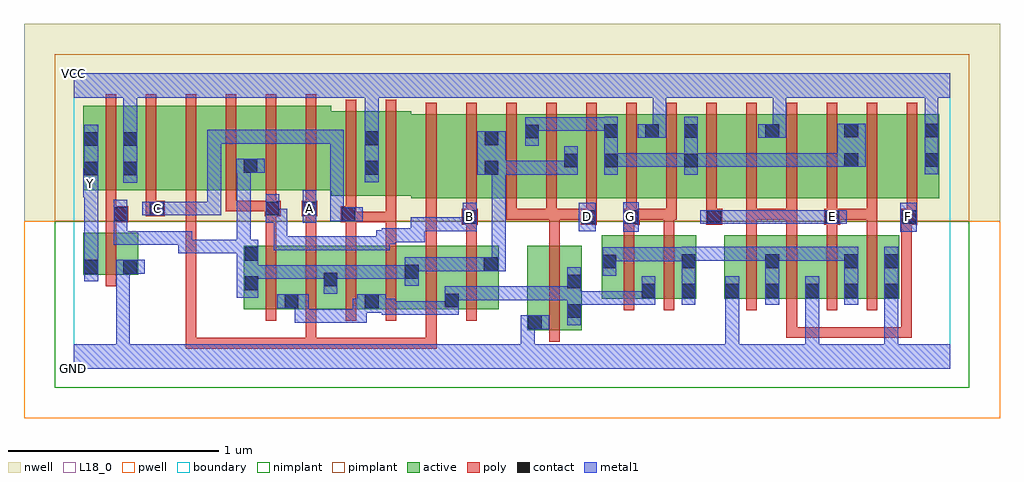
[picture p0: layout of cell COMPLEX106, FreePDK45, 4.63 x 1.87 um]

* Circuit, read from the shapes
.subckt COMPLEX106 A B C D E F G GND VCC Y
M1 GND n1 Y VSUBS nfet w=0.2u l=0.05u
M2 n2 B n1 VSUBS nfet w=0.3u l=0.05u m=2
M3 n1 A n2 VSUBS nfet w=0.3u l=0.05u m=2
M4 n2 C n1 VSUBS nfet w=0.3u l=0.05u m=2
M5 n2 D GND VSUBS nfet w=0.4u l=0.05u
M6 n2 G n3 VSUBS nfet w=0.3u l=0.05u m=2
M7 n3 F GND VSUBS nfet w=0.3u l=0.05u m=2
M8 n3 E GND VSUBS nfet w=0.3u l=0.05u m=2
M9 VCC n1 Y n4 pfet w=0.4u l=0.05u
M10 n5 C VCC n4 pfet w=0.4u l=0.05u
M11 n6 A n5 n4 pfet w=0.4u l=0.05u
M12 n1 B n6 n4 pfet w=0.4u l=0.05u
M13 n7 B n1 n4 pfet w=0.4u l=0.05u
M14 n8 A n7 n4 pfet w=0.4u l=0.05u
M15 VCC C n8 n4 pfet w=0.4u l=0.05u
M16 n9 C VCC n4 pfet w=0.4u l=0.05u
M17 n10 A n9 n4 pfet w=0.4u l=0.05u
M18 n1 B n10 n4 pfet w=0.4u l=0.05u
M19 n11 D n1 n4 pfet w=0.4u l=0.05u m=3
M20 VCC G n11 n4 pfet w=0.4u l=0.05u m=2
M21 n12 E n11 n4 pfet w=0.4u l=0.05u
M22 VCC F n12 n4 pfet w=0.4u l=0.05u
M23 n13 F VCC n4 pfet w=0.4u l=0.05u
M24 n11 E n13 n4 pfet w=0.4u l=0.05u
M25 n14 E n11 n4 pfet w=0.4u l=0.05u
M26 VCC F n14 n4 pfet w=0.4u l=0.05u
.ends

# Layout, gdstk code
import gdstk
lib = gdstk.Library(unit=1e-6, precision=1e-09)
def R(c, l, rs):  # rectangles x0, y0, x1, y1
    for r in rs: c.add(gdstk.rectangle(r[:2], r[2:], *l))
def A(c, l, x, y, w, h, nx, ny, dx, dy):  # array of equal rectangles
    R(c, l, [(x+i*dx, y+j*dy, x+i*dx+w, y+j*dy+h) for i in range(nx) for j in range(ny)])
active = (1, 0)
pwell = (2, 0)
nwell = (3, 0)
nimplant = (4, 0)
pimplant = (5, 0)
poly = (9, 0)
contact = (10, 0)
metal1 = (11, 0)
L18_0 = (18, 0)
boundary = (235, 0)

complex106 = lib.new_cell('COMPLEX106')
R(complex106, active, [(2.152,0.182,2.412,0.582), (2.152,0.182,2.227,0.582), (2.337,0.235,2.412,0.582), (0.807,0.282,1.072,0.582), (0.997,0.282,1.257,0.582), (0.997,0.282,1.072,0.437), (1.182,0.282,1.452,0.582), (1.377,0.282,1.642,0.582), (1.377,0.282,1.452,0.517), (1.567,0.282,1.832,0.582), (1.757,0.282,2.017,0.582), (1.757,0.282,1.832,0.405), (1.182,0.33,1.257,0.46), (1.567,0.33,1.642,0.497), (1.942,0.33,2.017,0.582), (2.505,0.332,2.765,0.632), (2.69,0.332,2.955,0.632), (2.69,0.332,2.765,0.597), (2.88,0.332,2.955,0.632), (3.087,0.332,3.162,0.632), (3.087,0.332,3.352,0.632), (3.277,0.332,3.542,0.632), (3.277,0.332,3.352,0.547), (3.467,0.332,3.727,0.632), (3.467,0.332,3.542,0.437), (3.652,0.332,3.727,0.632), (3.652,0.332,3.917,0.632), (3.842,0.332,3.917,0.632), (0.807,0.345,0.882,0.582), (2.505,0.345,2.58,0.632), (0.047,0.445,0.122,0.645), (0.047,0.445,0.307,0.645), (0.232,0.445,0.307,0.645), (1.602,0.807,1.792,1.207), (1.792,0.807,2.02,1.207), (1.945,0.807,2.212,1.207), (1.945,0.807,2.02,1.155), (2.137,0.807,2.397,1.207), (2.322,0.807,2.587,1.207), (2.322,0.807,2.397,1.07), (2.512,0.807,2.782,1.207), (2.707,0.807,2.967,1.207), (2.892,0.807,3.122,1.207), (3.122,0.807,3.352,1.207), (3.277,0.807,3.502,1.207), (3.502,0.807,3.727,1.207), (3.652,0.807,3.882,1.207), (3.882,0.807,4.107,1.207), (4.032,0.807,4.107,1.207), (1.222,0.82,1.452,1.22), (1.377,0.82,1.602,1.22), (0.047,0.847,0.307,1.247), (0.047,0.847,0.122,1.155), (0.232,0.847,0.462,1.247), (0.462,0.847,0.652,1.247), (0.652,0.847,0.877,1.247), (0.802,0.847,1.032,1.247), (1.032,0.847,1.222,1.247), (0.232,0.907,0.307,1.155), (0.802,0.907,0.877,1.07), (1.377,0.907,1.452,1.155), (2.137,0.907,2.212,1.2), (2.512,0.907,2.587,1.2), (2.707,0.907,2.782,1.207), (2.892,0.907,2.967,1.2), (3.277,0.907,3.352,1.207), (3.652,0.907,3.727,1.167)])
R(complex106, pwell, [(-0.235,-0.235,4.395,0.7)])
R(complex106, nwell, [(-0.235,0.7,4.395,1.635)])
R(complex106, nimplant, [(-0.09,-0.09,4.25,0.7)])
R(complex106, pimplant, [(-0.09,0.7,4.25,1.49)])
A(complex106, poly, 0.912, 0.227, 0.05, 0.41, 6, 1, 0.19, 0)
A(complex106, poly, 3.192, 0.277, 0.05, 0.41, 4, 1, 0.19, 0)
A(complex106, poly, 1.672, 0.707, 0.05, 0.095, 13, 1, 0.19, 0)
A(complex106, poly, 0.722, 0.747, 0.05, 0.095, 3, 1, 0.19, 0)
A(complex106, poly, 1.672, 0.752, 0.05, 0.51, 13, 1, 0.19, 0)
A(complex106, poly, 0.152, 0.792, 0.05, 0.51, 6, 1, 0.19, 0)
R(complex106, poly, [(0.532,0.095,0.582,0.145), (0.532,0.095,0.582,0.145), (0.532,0.095,0.582,0.145), (0.532,0.095,0.582,0.145), (0.532,0.095,0.582,0.145), (0.532,0.095,0.582,0.145), (0.532,0.095,0.582,0.145), (0.532,0.095,0.582,0.145), (0.532,0.095,0.582,0.145), (0.532,0.095,0.582,0.145), (0.532,0.095,0.582,0.145), (0.532,0.095,0.715,0.145), (0.532,0.095,0.582,0.842), (0.665,0.095,0.715,0.145), (0.665,0.095,0.715,0.145), (0.665,0.095,0.715,0.145), (0.665,0.095,1,0.145), (0.95,0.095,1,0.145), (0.95,0.095,1,0.145), (0.95,0.095,1,0.145), (0.95,0.095,1.152,0.145), (1.102,0.095,1.152,0.145), (1.102,0.095,1.152,0.277), (1.102,0.095,1.285,0.145), (1.235,0.095,1.285,0.145), (1.235,0.095,1.285,0.145), (1.235,0.095,1.285,0.145), (1.235,0.095,1.59,0.145), (1.54,0.095,1.59,0.145), (1.54,0.095,1.59,0.145), (1.54,0.095,1.59,0.145), (1.54,0.095,1.722,0.145), (1.672,0.095,1.722,0.145), (1.672,0.095,1.722,0.145), (1.672,0.095,1.722,0.145), (1.672,0.095,1.722,0.277), (2.257,0.127,2.307,0.637), (3.382,0.145,3.432,0.195), (3.382,0.145,3.68,0.195), (3.382,0.145,3.432,0.327), (3.63,0.145,3.68,0.195), (3.63,0.145,3.68,0.195), (3.63,0.145,3.68,0.195), (3.63,0.145,3.845,0.195), (3.795,0.145,3.845,0.195), (3.795,0.145,3.845,0.195), (3.795,0.145,3.845,0.195), (3.795,0.145,3.977,0.195), (3.927,0.145,3.977,0.195), (3.927,0.145,3.977,0.195), (3.927,0.145,3.977,0.195), (3.927,0.145,3.977,0.195), (3.927,0.145,3.977,0.195), (3.927,0.145,3.977,0.195), (3.927,0.145,3.977,0.195), (3.927,0.145,3.977,0.732), (2.61,0.277,2.66,0.687), (2.8,0.277,2.85,0.687), (0.152,0.39,0.202,0.7), (0.912,0.587,0.962,0.772), (1.102,0.587,1.152,0.772), (1.292,0.587,1.342,0.745), (1.482,0.587,1.532,0.745), (1.672,0.587,1.722,0.757), (1.862,0.587,1.912,0.732), (2.257,0.587,2.307,0.757), (2.61,0.637,2.66,0.732), (2.8,0.637,2.85,0.757), (3.192,0.637,3.242,0.757), (3.382,0.637,3.432,0.757), (3.572,0.637,3.622,0.732), (3.762,0.637,3.812,0.757), (0.152,0.65,0.202,0.745), (1.842,0.682,1.917,0.757), (2.407,0.682,2.482,0.757), (2.61,0.682,2.685,0.757), (3.002,0.682,3.077,0.757), (3.562,0.682,3.637,0.757), (3.927,0.682,3.977,0.732), (3.927,0.682,3.977,0.732), (3.927,0.682,4.002,0.757), (0.152,0.695,0.26,0.77), (1.267,0.695,1.342,0.77), (1.292,0.695,1.532,0.745), (1.482,0.695,1.532,0.745), (1.482,0.695,1.532,0.745), (1.482,0.695,1.532,0.745), (1.482,0.695,1.532,0.815), (1.672,0.707,1.722,0.757), (2.052,0.707,2.102,0.757), (2.052,0.707,2.102,0.757), (2.052,0.707,2.102,0.757), (2.052,0.707,2.292,0.757), (2.242,0.707,2.307,0.757), (2.257,0.707,2.307,0.757), (2.257,0.707,2.307,0.757), (2.257,0.707,2.457,0.757), (2.635,0.707,2.85,0.757), (2.8,0.707,2.85,0.757), (2.8,0.707,2.85,0.757), (2.8,0.707,2.862,0.757), (3.192,0.707,3.242,0.757), (3.192,0.707,3.242,0.757), (3.192,0.707,3.242,0.757), (3.192,0.707,3.432,0.757), (3.382,0.707,3.432,0.757), (3.587,0.707,3.812,0.757), (3.762,0.707,3.812,0.757), (3.762,0.707,3.812,0.757), (3.762,0.707,3.812,0.757), (0.152,0.72,0.202,0.842), (1.292,0.72,1.342,0.815), (0.342,0.722,0.432,0.797), (0.907,0.722,0.982,0.797), (1.082,0.722,1.157,0.797), (0.342,0.747,0.392,0.842), (0.722,0.747,0.772,0.797), (0.722,0.747,0.772,0.797), (0.722,0.747,0.772,0.797), (0.722,0.747,0.957,0.797), (1.292,0.765,1.342,1.275), (1.482,0.765,1.532,1.275)])
A(complex106, contact, 3.092, 0.337, 0.065, 0.065, 3, 1, 0.19, 0)
R(complex106, contact, [(2.157,0.187,2.222,0.252), (2.342,0.24,2.407,0.305), (1.002,0.287,1.067,0.352), (1.382,0.287,1.447,0.352), (1.762,0.29,1.827,0.355), (2.695,0.337,2.76,0.402), (2.885,0.337,2.95,0.402), (3.657,0.337,3.722,0.402), (3.847,0.337,3.912,0.402), (0.812,0.372,0.877,0.437), (2.342,0.38,2.407,0.445), (1.187,0.39,1.252,0.455), (1.572,0.427,1.637,0.492), (0.052,0.45,0.117,0.515), (0.237,0.45,0.302,0.515), (1.947,0.462,2.012,0.527), (2.51,0.475,2.575,0.54), (2.885,0.477,2.95,0.542), (3.282,0.477,3.347,0.542), (3.657,0.477,3.722,0.542), (3.847,0.477,3.912,0.542), (0.812,0.512,0.877,0.577), (1.847,0.687,1.912,0.752), (2.412,0.687,2.477,0.752), (2.615,0.687,2.68,0.752), (3.007,0.687,3.072,0.752), (3.567,0.687,3.632,0.752), (3.932,0.687,3.997,0.752), (0.19,0.7,0.255,0.765), (1.272,0.7,1.337,0.765), (0.362,0.727,0.427,0.792), (0.912,0.727,0.977,0.792), (1.087,0.727,1.152,0.792), (0.052,0.917,0.117,0.982), (0.237,0.917,0.302,0.982), (1.382,0.92,1.447,0.985), (1.95,0.92,2.015,0.985), (0.807,0.93,0.872,0.995), (2.327,0.955,2.392,1.02), (2.517,0.955,2.582,1.02), (2.897,0.955,2.962,1.02), (3.657,0.957,3.722,1.022), (4.037,0.957,4.102,1.022), (0.052,1.057,0.117,1.122), (0.237,1.057,0.302,1.122), (1.382,1.06,1.447,1.125), (1.95,1.06,2.015,1.125), (2.142,1.092,2.207,1.157), (2.517,1.095,2.582,1.16), (2.712,1.095,2.777,1.16), (2.897,1.095,2.962,1.16), (3.282,1.095,3.347,1.16), (3.657,1.097,3.722,1.162), (4.037,1.097,4.102,1.162)])
R(complex106, metal1, [(0,0,4.16,0.115), (0.202,0.05,0.267,0.115), (0.202,0.05,0.267,0.115), (0.202,0.05,0.267,0.115), (0.202,0.05,0.267,0.115), (0.202,0.05,0.267,0.115), (0.202,0.05,0.267,0.115), (0.202,0.05,0.267,0.515), (2.122,0.05,2.187,0.252), (3.092,0.05,3.157,0.367), (3.472,0.05,3.537,0.367), (3.472,0.05,3.537,0.115), (3.472,0.05,3.537,0.115), (3.472,0.05,3.537,0.115), (3.472,0.05,3.537,0.115), (3.847,0.05,3.912,0.367), (3.847,0.05,3.912,0.115), (3.847,0.05,3.912,0.115), (3.847,0.05,3.912,0.115), (3.847,0.05,3.912,0.115), (2.122,0.187,2.187,0.252), (2.122,0.187,2.187,0.252), (2.122,0.187,2.257,0.252), (2.342,0.205,2.407,0.48), (1.05,0.217,1.115,0.352), (1.05,0.217,1.275,0.282), (1.21,0.217,1.275,0.282), (1.21,0.217,1.39,0.282), (1.325,0.217,1.39,0.33), (1.462,0.255,1.69,0.32), (1.462,0.255,1.527,0.33), (1.625,0.255,1.69,0.32), (1.625,0.255,1.69,0.32), (1.625,0.255,1.69,0.32), (1.625,0.255,1.827,0.32), (1.762,0.255,1.827,0.39), (1.325,0.265,1.412,0.33), (1.347,0.265,1.482,0.352), (1.417,0.265,1.527,0.33), (0.967,0.287,1.102,0.352), (1.037,0.287,1.115,0.352), (2.342,0.302,2.407,0.367), (2.342,0.302,2.407,0.367), (2.342,0.302,2.605,0.367), (2.54,0.302,2.605,0.367), (2.54,0.302,2.675,0.367), (2.61,0.302,2.675,0.367), (2.61,0.302,2.76,0.367), (2.695,0.302,2.76,0.437), (2.885,0.302,2.95,0.577), (3.092,0.302,3.157,0.367), (3.092,0.302,3.157,0.367), (3.092,0.302,3.157,0.367), (3.092,0.302,3.157,0.367), (3.092,0.302,3.157,0.437), (3.282,0.302,3.347,0.577), (3.472,0.302,3.537,0.437), (3.657,0.302,3.722,0.577), (3.847,0.302,3.912,0.577), (1.762,0.325,1.912,0.39), (1.847,0.325,1.912,0.39), (1.847,0.325,2.05,0.39), (1.985,0.325,2.05,0.39), (1.985,0.325,2.05,0.39), (1.985,0.325,2.05,0.39), (1.985,0.325,2.255,0.39), (2.19,0.325,2.255,0.39), (2.19,0.325,2.255,0.39), (2.19,0.325,2.255,0.39), (2.19,0.325,2.407,0.39), (0.775,0.337,0.877,0.612), (0.812,0.337,0.877,0.402), (0.812,0.337,0.877,0.49), (1.187,0.355,1.252,0.49), (1.572,0.392,1.637,0.527), (0.052,0.415,0.117,0.55), (0.812,0.425,0.977,0.49), (0.912,0.425,0.977,0.49), (0.912,0.425,1.115,0.49), (1.05,0.425,1.115,0.49), (1.05,0.425,1.115,0.49), (1.05,0.425,1.115,0.49), (1.05,0.425,1.252,0.49), (1.187,0.425,1.312,0.49), (1.247,0.425,1.312,0.49), (1.247,0.425,1.5,0.49), (1.435,0.425,1.5,0.49), (1.435,0.425,1.527,0.49), (1.462,0.425,1.527,0.49), (1.462,0.425,1.637,0.49), (2.51,0.44,2.575,0.575), (0.202,0.45,0.337,0.515), (1.572,0.462,1.775,0.527), (1.71,0.462,1.775,0.527), (1.71,0.462,1.827,0.527), (1.762,0.462,1.827,0.527), (1.762,0.462,1.912,0.527), (1.847,0.462,1.912,0.527), (1.847,0.462,1.977,0.527), (1.912,0.462,2.047,0.527), (1.982,0.462,2.047,0.527), (1.982,0.462,2.05,0.527), (1.985,0.462,2.05,0.985), (0.052,0.485,0.117,0.877), (2.51,0.51,2.575,0.575), (2.51,0.51,2.575,0.575), (2.51,0.51,2.812,0.575), (2.747,0.51,2.812,0.575), (2.747,0.51,2.812,0.575), (2.747,0.51,2.812,0.575), (2.747,0.51,2.95,0.575), (2.885,0.512,2.95,0.577), (2.885,0.512,2.95,0.577), (2.885,0.512,3.175,0.577), (3.11,0.512,3.175,0.577), (3.11,0.512,3.262,0.577), (3.197,0.512,3.262,0.577), (3.197,0.512,3.347,0.577), (3.282,0.512,3.4,0.577), (3.335,0.512,3.4,0.577), (3.335,0.512,3.55,0.577), (3.485,0.512,3.55,0.577), (3.485,0.512,3.55,0.577), (3.485,0.512,3.55,0.577), (3.485,0.512,3.722,0.577), (0.497,0.547,0.562,0.612), (0.497,0.547,0.562,0.612), (0.497,0.547,0.7,0.612), (0.497,0.547,0.562,0.652), (0.635,0.547,0.7,0.612), (0.635,0.547,0.7,0.612), (0.635,0.547,0.7,0.612), (0.635,0.547,0.84,0.612), (0.775,0.547,0.84,0.612), (0.775,0.547,0.84,0.612), (0.775,0.547,0.84,0.612), (0.775,0.547,0.84,0.612), (0.775,0.547,0.84,0.995), (0.95,0.562,1.015,0.627), (0.95,0.562,1.115,0.627), (0.95,0.562,1.015,0.757), (1.05,0.562,1.115,0.627), (1.05,0.562,1.275,0.627), (1.21,0.562,1.275,0.627), (1.21,0.562,1.39,0.627), (1.325,0.562,1.39,0.627), (1.325,0.562,1.5,0.627), (1.435,0.562,1.5,0.655), (0.19,0.587,0.255,0.652), (0.19,0.587,0.562,0.652), (0.19,0.587,0.255,0.73), (1.435,0.59,1.527,0.655), (1.462,0.59,1.527,0.665), (1.462,0.6,1.665,0.665), (1.6,0.6,1.665,0.665), (1.6,0.6,1.665,0.717), (2.607,0.65,2.682,0.79), (3.922,0.65,4,0.787), (1.6,0.652,1.665,0.717), (1.6,0.652,1.665,0.717), (1.6,0.652,1.665,0.717), (1.6,0.652,1.84,0.717), (1.775,0.652,1.84,0.717), (1.775,0.652,1.912,0.717), (1.847,0.652,1.912,0.787), (2.397,0.652,2.477,0.787), (0.19,0.665,0.255,0.73), (0.19,0.665,0.255,0.73), (0.19,0.665,0.255,0.8), (2.972,0.687,3.107,0.752), (3.042,0.687,3.107,0.752), (3.042,0.687,3.107,0.752), (3.042,0.687,3.262,0.752), (3.197,0.687,3.262,0.752), (3.197,0.687,3.4,0.752), (3.335,0.687,3.4,0.752), (3.335,0.687,3.4,0.752), (3.335,0.687,3.4,0.752), (3.335,0.687,3.55,0.752), (3.485,0.687,3.55,0.752), (3.485,0.687,3.597,0.752), (3.532,0.687,3.667,0.752), (0.912,0.692,0.977,0.827), (0.912,0.692,1.015,0.757), (0.95,0.692,1.015,0.757), (1.087,0.692,1.152,0.847), (1.217,0.7,1.282,0.765), (1.217,0.7,1.282,0.765), (1.217,0.7,1.282,0.765), (1.217,0.7,1.302,0.765), (1.217,0.7,1.282,1.132), (1.237,0.7,1.372,0.765), (0.327,0.727,0.467,0.792), (0.402,0.727,0.467,0.792), (0.402,0.727,0.467,0.792), (0.402,0.727,0.7,0.792), (0.635,0.727,0.7,0.792), (0.635,0.727,0.7,0.792), (0.635,0.727,0.7,0.792), (0.635,0.727,0.7,1.132), (0.047,0.812,0.117,0.947), (0.052,0.882,0.117,1.157), (0.052,0.882,0.117,0.947), (0.237,0.882,0.302,1.157), (1.382,0.885,1.447,1.16), (1.915,0.92,2.05,1.125), (1.985,0.92,2.05,0.985), (1.985,0.92,2.05,0.985), (1.985,0.92,2.05,0.985), (1.985,0.92,2.05,0.985), (1.985,0.92,2.187,0.985), (2.122,0.92,2.187,0.985), (2.122,0.92,2.187,0.985), (2.122,0.92,2.187,0.985), (2.122,0.92,2.392,0.985), (2.327,0.92,2.392,1.055), (2.517,0.92,2.582,1.195), (2.897,0.92,2.962,1.195), (4.037,0.922,4.102,1.197), (0.772,0.93,0.907,0.995), (2.517,0.957,2.582,1.022), (2.517,0.957,2.582,1.022), (2.517,0.957,2.812,1.022), (2.747,0.957,2.812,1.022), (2.747,0.957,2.812,1.022), (2.747,0.957,2.812,1.022), (2.747,0.957,2.962,1.022), (2.897,0.957,3.125,1.022), (3.06,0.957,3.125,1.022), (3.06,0.957,3.125,1.022), (3.06,0.957,3.125,1.022), (3.06,0.957,3.262,1.022), (3.197,0.957,3.262,1.022), (3.197,0.957,3.4,1.022), (3.335,0.957,3.4,1.022), (3.335,0.957,3.4,1.022), (3.335,0.957,3.4,1.022), (3.335,0.957,3.537,1.022), (3.472,0.957,3.537,1.022), (3.472,0.957,3.687,1.022), (3.622,0.957,3.687,1.022), (3.622,0.957,3.687,1.022), (3.622,0.957,3.757,1.162), (2.142,1.057,2.207,1.192), (0.635,1.067,0.7,1.132), (0.635,1.067,0.7,1.132), (0.635,1.067,0.7,1.132), (0.635,1.067,0.837,1.132), (0.772,1.067,0.837,1.132), (0.772,1.067,0.837,1.132), (0.772,1.067,0.837,1.132), (0.772,1.067,0.977,1.132), (0.912,1.067,0.977,1.132), (0.912,1.067,1.115,1.132), (1.05,1.067,1.115,1.132), (1.05,1.067,1.115,1.132), (1.05,1.067,1.115,1.132), (1.05,1.067,1.282,1.132), (1.217,1.067,1.282,1.132), (0.237,1.092,0.302,1.35), (1.382,1.095,1.447,1.35), (2.677,1.095,2.812,1.16), (2.747,1.095,2.812,1.35), (3.247,1.095,3.382,1.16), (3.317,1.095,3.382,1.35), (2.142,1.127,2.207,1.192), (2.142,1.127,2.207,1.192), (2.142,1.127,2.437,1.192), (2.372,1.127,2.437,1.192), (2.372,1.127,2.437,1.192), (2.372,1.127,2.437,1.192), (2.372,1.127,2.582,1.192), (4.037,1.132,4.102,1.35), (0,1.285,4.16,1.4)])
R(complex106, L18_0, [(0,0,4.16,0.115), (0.202,0.05,0.267,0.115), (0.202,0.05,0.267,0.115), (0.202,0.05,0.267,0.115), (0.202,0.05,0.267,0.115), (0.202,0.05,0.267,0.115), (0.202,0.05,0.267,0.115), (0.202,0.05,0.267,0.515), (2.122,0.05,2.187,0.252), (3.092,0.05,3.157,0.367), (3.472,0.05,3.537,0.115), (3.472,0.05,3.537,0.115), (3.472,0.05,3.537,0.115), (3.472,0.05,3.537,0.115), (3.472,0.05,3.537,0.367), (3.847,0.05,3.912,0.115), (3.847,0.05,3.912,0.115), (3.847,0.05,3.912,0.115), (3.847,0.05,3.912,0.115), (3.847,0.05,3.912,0.367), (2.122,0.187,2.187,0.252), (2.122,0.187,2.187,0.252), (2.122,0.187,2.257,0.252), (3.092,0.302,3.157,0.437), (3.092,0.302,3.157,0.367), (3.092,0.302,3.157,0.367), (3.092,0.302,3.157,0.367), (3.092,0.302,3.157,0.367), (3.472,0.302,3.537,0.437), (3.847,0.302,3.912,0.577), (0.052,0.415,0.117,0.55), (0.202,0.45,0.337,0.515), (0.052,0.485,0.117,0.877), (0.95,0.562,1.015,0.627), (0.95,0.562,1.015,0.757), (0.95,0.562,1.115,0.627), (1.05,0.562,1.115,0.627), (1.05,0.562,1.275,0.627), (1.21,0.562,1.275,0.627), (1.21,0.562,1.39,0.627), (1.325,0.562,1.39,0.627), (1.325,0.562,1.5,0.627), (1.435,0.562,1.5,0.655), (1.435,0.59,1.527,0.655), (1.462,0.59,1.527,0.665), (1.462,0.6,1.665,0.665), (1.6,0.6,1.665,0.665), (1.6,0.6,1.665,0.717), (2.607,0.65,2.682,0.79), (3.922,0.65,4,0.787), (1.6,0.652,1.665,0.717), (1.6,0.652,1.665,0.717), (1.6,0.652,1.665,0.717), (1.6,0.652,1.84,0.717), (1.775,0.652,1.84,0.717), (1.775,0.652,1.912,0.717), (1.847,0.652,1.912,0.787), (2.397,0.652,2.477,0.787), (1.847,0.687,1.912,0.752), (2.407,0.687,2.472,0.752), (2.607,0.687,2.672,0.752), (2.972,0.687,3.107,0.752), (3.042,0.687,3.107,0.752), (3.042,0.687,3.107,0.752), (3.042,0.687,3.262,0.752), (3.197,0.687,3.262,0.752), (3.197,0.687,3.4,0.752), (3.335,0.687,3.4,0.752), (3.335,0.687,3.4,0.752), (3.335,0.687,3.4,0.752), (3.335,0.687,3.55,0.752), (3.485,0.687,3.55,0.752), (3.485,0.687,3.597,0.752), (3.532,0.687,3.667,0.752), (3.567,0.687,3.632,0.752), (3.927,0.687,3.992,0.752), (0.912,0.692,0.977,0.827), (0.912,0.692,1.015,0.757), (0.95,0.692,1.015,0.757), (1.087,0.692,1.152,0.847), (1.217,0.7,1.282,0.765), (1.217,0.7,1.282,0.765), (1.217,0.7,1.282,0.765), (1.217,0.7,1.282,1.132), (1.217,0.7,1.302,0.765), (1.237,0.7,1.372,0.765), (0.327,0.727,0.467,0.792), (0.367,0.727,0.432,0.792), (0.402,0.727,0.467,0.792), (0.402,0.727,0.467,0.792), (0.402,0.727,0.7,0.792), (0.635,0.727,0.7,0.792), (0.635,0.727,0.7,0.792), (0.635,0.727,0.7,0.792), (0.635,0.727,0.7,1.132), (1.087,0.727,1.152,0.792), (0.047,0.812,0.117,0.947), (0.047,0.847,0.112,0.912), (0.052,0.882,0.117,1.157), (0.052,0.882,0.117,0.947), (0.237,0.882,0.302,1.157), (1.382,0.885,1.447,1.16), (4.037,0.922,4.102,1.197), (0.635,1.067,0.7,1.132), (0.635,1.067,0.7,1.132), (0.635,1.067,0.7,1.132), (0.635,1.067,0.837,1.132), (0.772,1.067,0.837,1.132), (0.772,1.067,0.837,1.132), (0.772,1.067,0.837,1.132), (0.772,1.067,0.977,1.132), (0.912,1.067,0.977,1.132), (0.912,1.067,1.115,1.132), (1.05,1.067,1.115,1.132), (1.05,1.067,1.115,1.132), (1.05,1.067,1.115,1.132), (1.05,1.067,1.282,1.132), (1.217,1.067,1.282,1.132), (0.237,1.092,0.302,1.35), (1.382,1.095,1.447,1.35), (2.677,1.095,2.812,1.16), (2.747,1.095,2.812,1.35), (3.247,1.095,3.382,1.16), (3.317,1.095,3.382,1.35), (4.037,1.132,4.102,1.35), (0,1.285,4.16,1.4)])
R(complex106, boundary, [(0,0,4.16,1.4)])
complex106.add(gdstk.Label('A', (1.12,0.76), layer=11, texttype=0))
complex106.add(gdstk.Label('B', (1.88,0.72), layer=11, texttype=0))
complex106.add(gdstk.Label('C', (0.4,0.76), layer=11, texttype=0))
complex106.add(gdstk.Label('D', (2.44,0.72), layer=11, texttype=0))
complex106.add(gdstk.Label('E', (3.6,0.72), layer=11, texttype=0))
complex106.add(gdstk.Label('F', (3.96,0.72), layer=11, texttype=0))
complex106.add(gdstk.Label('G', (2.64,0.72), layer=11, texttype=0))
complex106.add(gdstk.Label('Y', (0.08,0.88), layer=11, texttype=0))
complex106.add(gdstk.Label('VCC', (0,1.4), layer=11, texttype=0))
complex106.add(gdstk.Label('GND', (0,0), layer=11, texttype=0))

lib.write_gds('COMPLEX106.gds')
